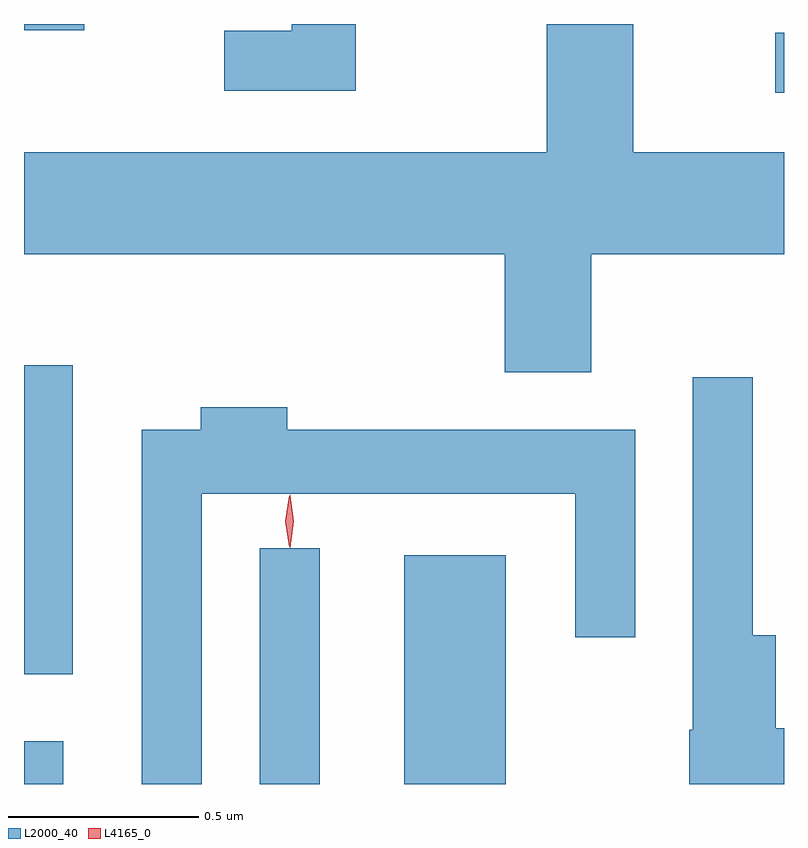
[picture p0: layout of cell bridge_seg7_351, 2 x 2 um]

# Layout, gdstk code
import gdstk
lib = gdstk.Library(unit=1e-6, precision=1e-09)
def R(c, l, rs):  # rectangles x0, y0, x1, y1
    for r in rs: c.add(gdstk.rectangle(r[:2], r[2:], *l))
def P(c, l, *ps):  # polygons
    for p in ps: c.add(gdstk.Polygon(p, *l))
L2000_40 = (2000, 40)
L4165_0 = (4165, 0)

bridge_seg7_351 = lib.new_cell('bridge_seg7_351')
R(bridge_seg7_351, L2000_40, [(1177.736,1759.542,1177.839,1759.654), (1178.356,1759.542,1178.514,1760.163), (1178.736,1759.542,1179.004,1760.144), (1177.736,1759.831,1177.864,1760.644), (1179.713,1761.361,1179.736,1761.519), (1177.736,1761.526,1177.894,1761.542)])
P(bridge_seg7_351, L2000_40, [(1179.229,1760.936),(1179.736,1760.936),(1179.736,1761.204),(1179.339,1761.204),(1179.339,1761.542),(1179.111,1761.542),(1179.111,1761.204),(1177.736,1761.204),(1177.736,1760.936),(1179.001,1760.936),(1179.001,1760.626),(1179.229,1760.626)],
  [(1178.609,1761.542),(1178.441,1761.542),(1178.441,1761.524),(1178.263,1761.524),(1178.263,1761.366),(1178.609,1761.366)],
  [(1179.736,1759.689),(1179.714,1759.689),(1179.714,1759.934),(1179.654,1759.934),(1179.654,1760.613),(1179.496,1760.613),(1179.496,1759.685),(1179.486,1759.685),(1179.486,1759.542),(1179.736,1759.542)],
  [(1178.204,1760.306),(1179.186,1760.306),(1179.186,1759.928),(1179.344,1759.928),(1179.344,1760.474),(1178.429,1760.474),(1178.429,1760.534),(1178.201,1760.534),(1178.201,1760.474),(1178.046,1760.474),(1178.046,1759.542),(1178.204,1759.542)])
P(bridge_seg7_351, L4165_0, [(1178.436,1760.164),(1178.436,1760.164),(1178.426,1760.233),(1178.436,1760.302),(1178.436,1760.303),(1178.437,1760.302),(1178.446,1760.233),(1178.437,1760.164)],
  [(1178.434,1760.167),(1178.434,1760.167),(1178.424,1760.234),(1178.434,1760.3),(1178.434,1760.301),(1178.435,1760.3),(1178.444,1760.234),(1178.435,1760.167)])

lib.write_gds('bridge_seg7_351.gds')
